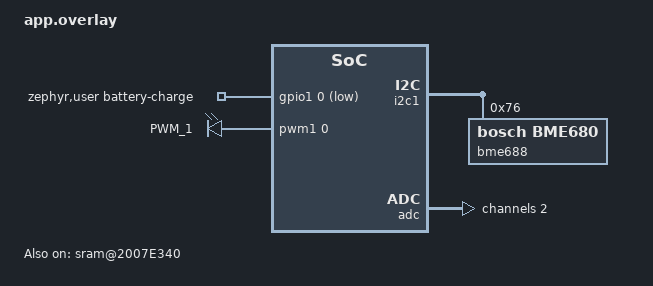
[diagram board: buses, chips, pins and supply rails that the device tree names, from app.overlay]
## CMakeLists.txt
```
#
# Copyright (c) 2021 Nordic Semiconductor ASA
#
# SPDX-License-Identifier: LicenseRef-Nordic-5-Clause
#

cmake_minimum_required(VERSION 3.20.0)

find_package(Zephyr REQUIRED HINTS $ENV{ZEPHYR_BASE})

project(matter-weather-station)

# Enable GNU STD support.
include(${ZEPHYR_CONNECTEDHOMEIP_MODULE_DIR}/config/nrfconnect/app/enable-gnu-std.cmake)

# NORDIC SDK APP START

# Include all source files that are located in the Matter common directory.
include(${ZEPHYR_NRF_MODULE_DIR}/samples/matter/common/cmake/source_common.cmake)

# Include Data Model utils
include(${ZEPHYR_NRF_MODULE_DIR}/samples/matter/common/cmake/data_model.cmake)

include(${ZEPHYR_NRF_MODULE_DIR}/samples/matter/common/cmake/zap_helpers.cmake)
ncs_get_zap_parent_dir(ZAP_PARENT_DIR)

target_include_directories(app PRIVATE
    src
    ${ZAP_PARENT_DIR}
)

target_sources(app PRIVATE
    src/app_task.cpp
    src/main.cpp
    src/battery.cpp
    src/buzzer.cpp
)

ncs_configure_data_model()
# NORDIC SDK APP END
```

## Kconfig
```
#
# Copyright (c) 2021 Nordic Semiconductor
#
# SPDX-License-Identifier: LicenseRef-Nordic-5-Clause
#

mainmenu "Matter weather station application"

config AVERAGE_CURRENT_CONSUMPTION
	int "Average device current consumption in microamperes"
	default 0
	help
	  The predicted average current consumption of the Matter weather station
	  device, used to estimate the remaining battery time.

# Application configuration used for Thread networking
if OPENTHREAD

choice OPENTHREAD_NORDIC_LIBRARY_CONFIGURATION
	default OPENTHREAD_NORDIC_LIBRARY_MTD
endchoice

choice OPENTHREAD_DEVICE_TYPE
	default OPENTHREAD_MTD
endchoice

config IEEE802154_NRF5_RX_STACK_SIZE
	default 8192

config CHIP_ENABLE_ICD_SUPPORT
	default y

endif # OPENTHREAD

if CHIP_WIFI

config NRF_WIFI_LOW_POWER
	default y

endif # CHIP_WIFI

source "${ZEPHYR_CONNECTEDHOMEIP_MODULE_DIR}/config/nrfconnect/chip-module/Kconfig.features"
source "${ZEPHYR_CONNECTEDHOMEIP_MODULE_DIR}/config/nrfconnect/chip-module/Kconfig.defaults"
source "${ZEPHYR_NRF_MODULE_DIR}/samples/matter/common/src/Kconfig"
source "Kconfig.zephyr"
```

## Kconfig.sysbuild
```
#
# Copyright (c) 2023 Nordic Semiconductor ASA
#
# SPDX-License-Identifier: LicenseRef-Nordic-5-Clause
#

#### Radio core
config NRF_DEFAULT_IPC_RADIO
	default y

# Enable IEEE802.15.4 serialization to network core
# This config automatically pulls in the `overlay-802154.conf` in the ipc_radio image
config NETCORE_IPC_RADIO_IEEE802154
	default y if !WIFI_NRF70

# Enable Bluetooth serialization to network core
# This config automatically pulls in the `overlay-bt_hci_ipc.conf` in the ipc_radio image
config NETCORE_IPC_RADIO_BT_HCI_IPC
	default y

choice BOOTLOADER
	default BOOTLOADER_MCUBOOT
endchoice

#### Bootloader
choice MCUBOOT_MODE
	default MCUBOOT_MODE_OVERWRITE_ONLY
endchoice

choice BOOT_SIGNATURE_TYPE
	default BOOT_SIGNATURE_TYPE_RSA
endchoice

config SECURE_BOOT_NETCORE
	default y

config NETCORE_APP_UPDATE
	default y

#### DFU multi-image support
config DFU_MULTI_IMAGE_PACKAGE_BUILD
	default y

config DFU_MULTI_IMAGE_PACKAGE_APP
	default y

config DFU_MULTI_IMAGE_PACKAGE_NET
	default y

config PM_EXTERNAL_FLASH_MCUBOOT_SECONDARY
	default y

source "share/sysbuild/Kconfig"
```

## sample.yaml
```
sample:
  name: Matter Weather Station
  description: Matter Weather Station application
tests:
  # This configuration is used for performing DFU over BLE between different NCS
  # applications on Thingy53.
  applications.matter_weather_station.debug.no_fd:
    sysbuild: true
    build_only: true
    platform_allow: thingy53/nrf5340/cpuapp
    platform_exclude: thingy53/nrf5340/cpuapp/ns
    integration_platforms:
      - thingy53/nrf5340/cpuapp
    tags:
      - sysbuild
      - ci_applications_matter
  applications.matter_weather_station.debug:
    sysbuild: true
    build_only: true
    extra_args:
      - OVERLAY_CONFIG=overlay-factory_data.conf
      - FILE_SUFFIX=factory_data
      - CONFIG_CHIP_FACTORY_DATA=y
      - SB_CONFIG_MATTER_FACTORY_DATA_GENERATE=y
    platform_allow: thingy53/nrf5340/cpuapp
    platform_exclude: thingy53/nrf5340/cpuapp/ns
    integration_platforms:
      - thingy53/nrf5340/cpuapp
    tags:
      - sysbuild
      - ci_applications_matter
  applications.matter_weather_station.release:
    sysbuild: true
    build_only: true
    extra_args:
      - OVERLAY_CONFIG=overlay-factory_data.conf
      - CONF_FILE=prj_release.conf
      - FILE_SUFFIX=factory_data
      - CONFIG_CHIP_FACTORY_DATA=y
      - SB_CONFIG_MATTER_FACTORY_DATA_GENERATE=y
    platform_allow: thingy53/nrf5340/cpuapp
    platform_exclude: thingy53/nrf5340/cpuapp/ns
    integration_platforms:
      - thingy53/nrf5340/cpuapp
    tags:
      - sysbuild
      - ci_applications_matter
  applications.matter_weather_station.nrf7002eb:
    sysbuild: true
    build_only: true
    extra_args:
      - matter_weather_station_SHIELD=nrf7002eb
      - FILE_SUFFIX=release
      - SB_CONFIG_WIFI_NRF70=y
      - CONFIG_CHIP_WIFI=y
    platform_allow: thingy53/nrf5340/cpuapp
    platform_exclude: thingy53/nrf5340/cpuapp/ns
    integration_platforms:
      - thingy53/nrf5340/cpuapp
    tags:
      - sysbuild
      - ci_applications_matter
```

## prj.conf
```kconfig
#
# Copyright (c) 2021 Nordic Semiconductor ASA
#
# SPDX-License-Identifier: LicenseRef-Nordic-5-Clause
#

# This sample uses Kconfig.defaults to set options common for all
# samples. This file should contain only options specific for this sample
# or overrides of default values.

# Enable CHIP
CONFIG_CHIP=y
CONFIG_CHIP_PROJECT_CONFIG="src/chip_project_config.h"

# Configure ZAP file name
CONFIG_NCS_SAMPLE_MATTER_ZAP_FILE_PATH="${APPLICATION_CONFIG_DIR}/src/default_zap/weather-station.zap"

# 32781 == 0x800D (matter example of Temperature measurement device as NCS Weather Station)
CONFIG_CHIP_DEVICE_PRODUCT_ID=32781
CONFIG_STD_CPP17=y

# Enable Matter pairing automatically on application start.
CONFIG_CHIP_ENABLE_PAIRING_AUTOSTART=y

# Enable Matter extended announcement and increase duration to 1 hour.
CONFIG_CHIP_BLE_EXT_ADVERTISING=y
CONFIG_CHIP_BLE_ADVERTISING_DURATION=60

# Enable Bluetooth Low Energy
CONFIG_BT_DEVICE_NAME="MatterWeather"

# Add support for LEDs, buttons and buzzer
CONFIG_DK_LIBRARY=y
CONFIG_PWM=y

# Configure Thingy:53 sensors
CONFIG_I2C=y
CONFIG_SENSOR=y
CONFIG_BME680=y
CONFIG_ADC=y

# Suspend devices when the CPU goes into sleep
CONFIG_PM_DEVICE=y

# Other settings
CONFIG_IEEE802154_NRF5_RX_STACK_SIZE=8192
CONFIG_THREAD_NAME=y
CONFIG_MPU_STACK_GUARD=y
CONFIG_CHIP_LIB_SHELL=y
CONFIG_NCS_SAMPLE_MATTER_TEST_SHELL=y

# Average Thingy:53 current consumption
CONFIG_AVERAGE_CURRENT_CONSUMPTION=10000

# Enable DFU over Bluetooth LE SMP
CONFIG_CHIP_DFU_OVER_BT_SMP=y

# Increase system workqueue size, as SMP is processed within it
CONFIG_SYSTEM_WORKQUEUE_STACK_SIZE=4096

# 0x0302 (Temp. sensor)
CONFIG_CHIP_DEVICE_TYPE=770
CONFIG_BT_RX_STACK_SIZE=1500

# Configure UART logging and shell
CONFIG_LOG=y
CONFIG_LOG_MODE_DEFERRED=y
CONFIG_LOG_PROCESS_THREAD_STACK_SIZE=1024
CONFIG_LOG_BUFFER_SIZE=8192
CONFIG_LOG_FUNC_NAME_PREFIX_DBG=n
CONFIG_MATTER_LOG_LEVEL_DBG=y
CONFIG_SHELL=y
CONFIG_SHELL_LOG_BACKEND=y

# Configure USB CDC ACM
CONFIG_USB_DEVICE_INITIALIZE_AT_BOOT=n
CONFIG_USB_DEVICE_PRODUCT="Thingy:53 Matter Weather"
CONFIG_USB_DEVICE_PID=0x530D
CONFIG_UART_LINE_CTRL=y
CONFIG_SHELL_BACKEND_SERIAL_INIT_PRIORITY=51

# Enable Diagnostic Logs feature
CONFIG_NCS_SAMPLE_MATTER_DIAGNOSTIC_LOGS=y
CONFIG_NCS_SAMPLE_MATTER_DIAGNOSTIC_LOGS_CRASH_LOGS=y
CONFIG_NCS_SAMPLE_MATTER_DIAGNOSTIC_LOGS_REMOVE_CRASH_AFTER_READ=y
CONFIG_NCS_SAMPLE_MATTER_DIAGNOSTIC_LOGS_END_USER_LOGS=y
CONFIG_NCS_SAMPLE_MATTER_DIAGNOSTIC_LOGS_NETWORK_LOGS=y

# Enable test event triggers for diagnostic logs testing purposes.
CONFIG_NCS_SAMPLE_MATTER_DIAGNOSTIC_LOGS_TEST=y

# Set the NVS sector count to match the settings partition size that is 64 kB for this application.
CONFIG_SETTINGS_NVS_SECTOR_COUNT=16
```

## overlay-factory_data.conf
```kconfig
#
# Copyright (c) 2022 Nordic Semiconductor ASA
#
# SPDX-License-Identifier: LicenseRef-Nordic-5-Clause
#

# Use this overlay to re-generate new PAI and DAC certificates.
# Be sure that chip-cert executable is added to your system PATH.

# Enable building the new factory data
CONFIG_CHIP_FACTORY_DATA=y
CONFIG_CHIP_FACTORY_DATA_BUILD=y
CONFIG_CHIP_FACTORY_DATA_USE_DEFAULT_CERTS=y
CONFIG_CHIP_FACTORY_DATA_MERGE_WITH_FIRMWARE=y
CONFIG_CHIP_DEVICE_GENERATE_ROTATING_DEVICE_UID=n
CONFIG_CHIP_FACTORY_DATA_GENERATE_ONBOARDING_CODES=y

# Set up the Factory Data
CONFIG_CHIP_DEVICE_SERIAL_NUMBER="3"
CONFIG_CHIP_DEVICE_VENDOR_ID=65521
CONFIG_CHIP_DEVICE_VENDOR_NAME="Nordic Semiconductor ASA"
CONFIG_CHIP_DEVICE_PRODUCT_ID=32781
CONFIG_CHIP_DEVICE_PRODUCT_NAME="Weather Station"
CONFIG_CHIP_DEVICE_MANUFACTURING_DATE="2022-07-12"
CONFIG_CHIP_DEVICE_HARDWARE_VERSION=1
CONFIG_CHIP_DEVICE_HARDWARE_VERSION_STRING="SVE"
CONFIG_CHIP_DEVICE_DISCRIMINATOR=0x635
CONFIG_CHIP_DEVICE_SPAKE2_PASSCODE=65286841
CONFIG_CHIP_DEVICE_SPAKE2_IT=1000
CONFIG_CHIP_DEVICE_SPAKE2_TEST_VERIFIER="3kX890KClffU+BvLXQm68RDvXWlyuPofi8DEFkv74mQEnC+g02oLJTkItSDLBUvuYX87D1C7SnHZ7PuWvDziO57cHjPgUlkEhlRj+bvWKmE/FEwKuffl+VB7Dlx9HurJwQ=="
CONFIG_CHIP_DEVICE_ROTATING_DEVICE_UID="1566d6032a898e53f7d58133a19ac9d2"
CONFIG_CHIP_DEVICE_ENABLE_KEY="449eb9544ee3eef8d9fb7accb514fada"
```

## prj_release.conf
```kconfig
#
# Copyright (c) 2021 Nordic Semiconductor ASA
#
# SPDX-License-Identifier: LicenseRef-Nordic-5-Clause
#

# This sample uses Kconfig.defaults to set options common for all
# samples. This file should contain only options specific for this sample
# or overrides of default values.

# Enable CHIP
CONFIG_CHIP=y
CONFIG_CHIP_PROJECT_CONFIG="src/chip_project_config.h"

# Configure ZAP file name
CONFIG_NCS_SAMPLE_MATTER_ZAP_FILE_PATH="${APPLICATION_CONFIG_DIR}/src/default_zap/weather-station.zap"

# 32781 == 0x800D (matter example of Temperature measurement device as NCS Weather Station)
CONFIG_CHIP_DEVICE_PRODUCT_ID=32781
CONFIG_STD_CPP17=y

# Enable Matter pairing automatically on application start.
CONFIG_CHIP_ENABLE_PAIRING_AUTOSTART=y

# Enable Matter extended announcement and increase duration to 1 hour.
CONFIG_CHIP_BLE_EXT_ADVERTISING=y
CONFIG_CHIP_BLE_ADVERTISING_DURATION=60

# Enable Bluetooth Low Energy
CONFIG_BT_DEVICE_NAME="MatterWeather"

# Add support for LEDs, buttons and buzzer
CONFIG_DK_LIBRARY=y
CONFIG_PWM=y

# Configure Thingy:53 sensors
CONFIG_I2C=y
CONFIG_SENSOR=y
CONFIG_BME680=y
CONFIG_ADC=y

# Suspend devices when the CPU goes into sleep
CONFIG_PM_DEVICE=y

# Average Thingy:53 current consumption
CONFIG_AVERAGE_CURRENT_CONSUMPTION=10000

# Enable DFU over Bluetooth LE SMP
CONFIG_CHIP_DFU_OVER_BT_SMP=y

# Increase system workqueue size, as SMP is processed within it
CONFIG_SYSTEM_WORKQUEUE_STACK_SIZE=4096

# 0x0302 (Temp. sensor)
CONFIG_CHIP_DEVICE_TYPE=770
CONFIG_BT_RX_STACK_SIZE=1500

# Disable all debug features
CONFIG_SHELL=n
CONFIG_OPENTHREAD_SHELL=n
CONFIG_CONSOLE=n
CONFIG_UART_CONSOLE=n
CONFIG_SERIAL=n
CONFIG_LOG=n
CONFIG_LOG_MODE_MINIMAL=n
CONFIG_THREAD_NAME=n
CONFIG_ASSERT_VERBOSE=n
CONFIG_ASSERT_NO_FILE_INFO=y

# Disable USB CDC ACM
CONFIG_BOARD_SERIAL_BACKEND_CDC_ACM=n

# Enable Watchdog
CONFIG_NCS_SAMPLE_MATTER_WATCHDOG=y

# Enable LTO
CONFIG_LTO=y
CONFIG_ISR_TABLES_LOCAL_DECLARATION=y

# Enable Diagnostic Logs feature
CONFIG_NCS_SAMPLE_MATTER_DIAGNOSTIC_LOGS=y
CONFIG_NCS_SAMPLE_MATTER_DIAGNOSTIC_LOGS_CRASH_LOGS=y
CONFIG_NCS_SAMPLE_MATTER_DIAGNOSTIC_LOGS_REMOVE_CRASH_AFTER_READ=y
CONFIG_NCS_SAMPLE_MATTER_DIAGNOSTIC_LOGS_END_USER_LOGS=y
CONFIG_NCS_SAMPLE_MATTER_DIAGNOSTIC_LOGS_NETWORK_LOGS=y

# Enable test event triggers for diagnostic logs testing purposes.
CONFIG_NCS_SAMPLE_MATTER_DIAGNOSTIC_LOGS_TEST=y

# Set the NVS sector count to match the settings partition size that is 64 kB for this application.
CONFIG_SETTINGS_NVS_SECTOR_COUNT=16
```

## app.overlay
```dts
/*
 * Copyright (c) 2021 Nordic Semiconductor ASA
 *
 * SPDX-License-Identifier: LicenseRef-Nordic-5-Clause
 */

#include <zephyr/dt-bindings/ipc_service/static_vrings.h>

/ {
	zephyr,user {
		battery-charge-gpios = <&gpio1 0 (GPIO_PULL_UP | GPIO_ACTIVE_LOW)>;
	};

	pwmbuzzer {
		compatible = "pwm-leds";
		status = "okay";

		buzzer: buzzer_pwm {
			pwms = <&pwm1 0 PWM_HZ(100) PWM_POLARITY_NORMAL>;
			label = "PWM_1";
		};
	};

	aliases {
		buzzer-pwm = &buzzer;
	};

	sram@2007E340 {
		compatible = "zephyr,memory-region", "mmio-sram";
		reg = <0x2007E340 0x1CC0>;
		zephyr,memory-region = "DiagnosticLogMem";
		status = "okay";
		retainedmem {
			compatible = "zephyr,retained-ram";
			status = "okay";
			#address-cells = <1>;
			#size-cells = <1>;
			/* Reserve 192 B for the crash logs. */
			crash_retention: retention@0 {
					compatible = "zephyr,retention";
					status = "okay";
					reg = <0x0 0xC0>;
					prefix = [08 04];
					checksum = <2>;
			};

			/* Reserve 6 kB for the network logs. */
			network_logs_retention: retention@c0 {
					compatible = "zephyr,retention";
					status = "okay";
					reg = <0xC0 0x1800>;
					prefix = [06 03];
					checksum = <2>;
			};

			/* Reserve 1 kB for the end user logs. */
			end_user_logs_retention: retention@18c0 {
					compatible = "zephyr,retention";
					status = "okay";
					reg = <0x18C0 0x400>;
					prefix = [05 02];
					checksum = <2>;
			};
		};
	};
};

/* Set IPC thread priority to the highest value to not collide with other threads. */
&ipc0 {
	zephyr,priority = <0 PRIO_COOP>;
};

&i2c1 {
	bme688@76 {
		compatible = "bosch,bme680";
		reg = <0x76>;
	};
};

&adc {
	#address-cells = <1>;
	#size-cells = <0>;

	channel@2 {
		reg = <2>;
		zephyr,gain = "ADC_GAIN_1";
		zephyr,reference = "ADC_REF_INTERNAL";
		zephyr,acquisition-time = <ADC_ACQ_TIME(ADC_ACQ_TIME_MICROSECONDS, 40)>;
		zephyr,input-positive = <NRF_SAADC_AIN2>;
		zephyr,resolution = <12>;
		zephyr,oversampling = <4>;
	};
};

/* Disable unused peripherals to reduce power consumption */
&pwm0 {
	status = "disabled";
};
&pwm2 {
	status = "disabled";
};

/* Reduce SRAM0 usage by 7360 B to account for non-init area */
&sram0 {
	reg = <0x20000000 0x7E340>;
};
```

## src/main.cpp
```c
/*
 * Copyright (c) 2021 Nordic Semiconductor ASA
 *
 * SPDX-License-Identifier: LicenseRef-Nordic-5-Clause
 */

#include "app_task.h"

#include <zephyr/logging/log.h>

#ifdef CONFIG_USB_DEVICE_STACK
#include <zephyr/usb/usb_device.h>
#endif

LOG_MODULE_REGISTER(app, CONFIG_CHIP_APP_LOG_LEVEL);

int main()
{
	CHIP_ERROR err = CHIP_NO_ERROR;

#ifdef CONFIG_USB_DEVICE_STACK
	err = chip::System::MapErrorZephyr(usb_enable(NULL));
	if (err != CHIP_NO_ERROR) {
		LOG_ERR("Failed to initialize USB device");
	}
#endif

	if (err == CHIP_NO_ERROR) {
		err = AppTask::Instance().StartApp();
	}

	LOG_ERR("Exited with code %" CHIP_ERROR_FORMAT, err.Format());
	return err == CHIP_NO_ERROR ? EXIT_SUCCESS : EXIT_FAILURE;
}
```

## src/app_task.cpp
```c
/*
 * Copyright (c) 2021 Nordic Semiconductor ASA
 *
 * SPDX-License-Identifier: LicenseRef-Nordic-5-Clause
 */

#include "app_task.h"

#include "battery.h"
#include "buzzer.h"

#include "app/matter_init.h"
#include "app/task_executor.h"
#include "board/board.h"
#include "board/led_widget.h"

#ifdef CONFIG_MCUMGR_TRANSPORT_BT
#include "dfu/smp/dfu_over_smp.h"
#endif

#include <app-common/zap-generated/attributes/Accessors.h>
#include <app-common/zap-generated/cluster-objects.h>
#include <app/server/Server.h>
#include <setup_payload/OnboardingCodesUtil.h>

#include <zephyr/drivers/sensor.h>
#include <zephyr/logging/log.h>

LOG_MODULE_DECLARE(app, CONFIG_CHIP_APP_LOG_LEVEL);

using namespace ::chip;
using namespace ::chip::DeviceLayer;
using namespace ::chip::app;

namespace
{
enum class FunctionTimerMode { kDisabled, kFactoryResetTrigger, kFactoryResetComplete };
enum class LedState { kAlive, kAdvertisingBle, kConnectedBle, kProvisioned };

#if CONFIG_AVERAGE_CURRENT_CONSUMPTION <= 0
#error Invalid CONFIG_AVERAGE_CURRENT_CONSUMPTION value set
#endif

constexpr size_t kMeasurementsIntervalMs = 3000;
constexpr uint8_t kTemperatureMeasurementEndpointId = 1;
constexpr int16_t kTemperatureMeasurementAttributeMaxValue = 0x7fff;
constexpr int16_t kTemperatureMeasurementAttributeMinValue = 0x954d;
constexpr int16_t kTemperatureMeasurementAttributeInvalidValue = 0x8000;
constexpr uint8_t kHumidityMeasurementEndpointId = 2;
constexpr uint16_t kHumidityMeasurementAttributeMaxValue = 0x2710;
constexpr uint16_t kHumidityMeasurementAttributeMinValue = 0;
constexpr uint16_t kHumidityMeasurementAttributeInvalidValue = 0xffff;
constexpr uint8_t kPressureMeasurementEndpointId = 3;
constexpr int16_t kPressureMeasurementAttributeMaxValue = 0x7fff;
constexpr int16_t kPressureMeasurementAttributeMinValue = 0x8001;
constexpr int16_t kPressureMeasurementAttributeInvalidValue = 0x8000;
constexpr uint8_t kPowerSourceEndpointId = 0;
constexpr int16_t kMinimalOperatingVoltageMv = 3200;
constexpr int16_t kMaximalOperatingVoltageMv = 4050;
constexpr int16_t kWarningThresholdVoltageMv = 3450;
constexpr int16_t kCriticalThresholdVoltageMv = 3250;
constexpr uint8_t kMinBatteryPercentage = 0;
/* Value is expressed in half percent units ranging from 0 to 200. */
constexpr uint8_t kMaxBatteryPercentage = 200;
/* Battery capacity in uAh */
constexpr uint32_t kBatteryCapacityUaH = 1350000;
/* Average device current consumption in uA */
constexpr uint32_t kDeviceAverageCurrentConsumptionUa = CONFIG_AVERAGE_CURRENT_CONSUMPTION;
/* Fully charged battery operation time in seconds */
constexpr uint32_t kFullBatteryOperationTime = kBatteryCapacityUaH / kDeviceAverageCurrentConsumptionUa * 3600;
/* It is recommended to toggle the signalled state with 0.5 s interval. */
constexpr size_t kIdentifyTimerIntervalMs = 500;

k_timer sMeasurementsTimer;
k_timer sIdentifyTimer;

const device *sBme688SensorDev = DEVICE_DT_GET_ONE(bosch_bme680);

/* Add identify for all endpoints */
Identify sIdentifyTemperature = { chip::EndpointId{ kTemperatureMeasurementEndpointId }, AppTask::OnIdentifyStart,
				  AppTask::OnIdentifyStop, Clusters::Identify::IdentifyTypeEnum::kAudibleBeep };
Identify sIdentifyHumidity = { chip::EndpointId{ kHumidityMeasurementEndpointId }, AppTask::OnIdentifyStart,
			       AppTask::OnIdentifyStop, Clusters::Identify::IdentifyTypeEnum::kAudibleBeep };
Identify sIdentifyPressure = { chip::EndpointId{ kPressureMeasurementEndpointId }, AppTask::OnIdentifyStart,
			       AppTask::OnIdentifyStop, Clusters::Identify::IdentifyTypeEnum::kAudibleBeep };

} /* namespace */

void AppTask::MeasurementsTimerHandler()
{
	Instance().UpdateClustersState();
}

void AppTask::OnIdentifyStart(Identify *)
{
	Nrf::PostTask(
		[] { Nrf::GetBoard().GetLED(Nrf::DeviceLeds::LED2).Blink(Nrf::LedConsts::kIdentifyBlinkRate_ms); });
	k_timer_start(&sIdentifyTimer, K_MSEC(kIdentifyTimerIntervalMs), K_MSEC(kIdentifyTimerIntervalMs));
}

void AppTask::OnIdentifyStop(Identify *)
{
	k_timer_stop(&sIdentifyTimer);
	BuzzerSetState(false);
}

void AppTask::IdentifyTimerHandler()
{
	BuzzerToggleState();
}

void AppTask::UpdateTemperatureClusterState()
{
	struct sensor_value sTemperature;
	Protocols::InteractionModel::Status status;
	int result = sensor_channel_get(sBme688SensorDev, SENSOR_CHAN_AMBIENT_TEMP, &sTemperature);
	if (result == 0) {
		/* Defined by cluster temperature measured value = 100 x temperature in degC with resolution of
		 * 0.01 degC. val1 is an integer part of the value and val2 is fractional part in one-millionth
		 * parts. To achieve resolution of 0.01 degC val2 needs to be divided by 10000. */
		int16_t newValue = static_cast<int16_t>(sTemperature.val1 * 100 + sTemperature.val2 / 10000);

		if (newValue > kTemperatureMeasurementAttributeMaxValue ||
		    newValue < kTemperatureMeasurementAttributeMinValue) {
			/* Read value exceeds permitted limits, so assign invalid value code to it. */
			newValue = kTemperatureMeasurementAttributeInvalidValue;
		}
		LOG_DBG("New temperature measurement %d.%d *C", sTemperature.val1, sTemperature.val2);

		status = Clusters::TemperatureMeasurement::Attributes::MeasuredValue::Set(
			kTemperatureMeasurementEndpointId, newValue);
		if (status != Protocols::InteractionModel::Status::Success) {
			LOG_ERR("Updating temperature measurement %x", to_underlying(status));
		}
	} else {
		LOG_ERR("Getting temperature measurement data from BME688 failed with: %d", result);
	}
}

void AppTask::UpdatePressureClusterState()
{
	struct sensor_value sPressure;
	Protocols::InteractionModel::Status status;
	int result = sensor_channel_get(sBme688SensorDev, SENSOR_CHAN_PRESS, &sPressure);
	if (result == 0) {
		/* Defined by cluster pressure measured value = 10 x pressure in kPa with resolution of 0.1 kPa.
		 * val1 is an integer part of the value and val2 is fractional part in one-millionth parts.
		 * To achieve resolution of 0.1 kPa val2 needs to be divided by 100000. */
		int16_t newValue = static_cast<int16_t>(sPressure.val1 * 10 + sPressure.val2 / 100000);

		if (newValue > kPressureMeasurementAttributeMaxValue ||
		    newValue < kPressureMeasurementAttributeMinValue) {
			/* Read value exceeds permitted limits, so assign invalid value code to it. */
			newValue = kPressureMeasurementAttributeInvalidValue;
		}
		LOG_DBG("New pressure measurement %d.%d kPa", sPressure.val1, sPressure.val2);

		status = Clusters::PressureMeasurement::Attributes::MeasuredValue::Set(kPressureMeasurementEndpointId,
										       newValue);
		if (status != Protocols::InteractionModel::Status::Success) {
			LOG_ERR("Updating pressure measurement %x", to_underlying(status));
		}
	} else {
		LOG_ERR("Getting pressure measurement data from BME688 failed with: %d", result);
	}
}

void AppTask::UpdateRelativeHumidityClusterState()
{
	struct sensor_value sHumidity;
	Protocols::InteractionModel::Status status;
	int result = sensor_channel_get(sBme688SensorDev, SENSOR_CHAN_HUMIDITY, &sHumidity);
	if (result == 0) {
		/* Defined by cluster humidity measured value = 100 x humidity in %RH with resolution of 0.01 %.
		 * val1 is an integer part of the value and val2 is fractional part in one-millionth parts.
		 * To achieve resolution of 0.01 % val2 needs to be divided by 10000. */
		uint16_t newValue = static_cast<int16_t>(sHumidity.val1 * 100 + sHumidity.val2 / 10000);

		if (newValue > kHumidityMeasurementAttributeMaxValue ||
		    newValue < kHumidityMeasurementAttributeMinValue) {
			/* Read value exceeds permitted limits, so assign invalid value code to it. */
			newValue = kHumidityMeasurementAttributeInvalidValue;
		}
		LOG_DBG("New humidity measurement %d.%d %%", sHumidity.val1, sHumidity.val2);

		status = Clusters::RelativeHumidityMeasurement::Attributes::MeasuredValue::Set(
			kHumidityMeasurementEndpointId, newValue);
		if (status != Protocols::InteractionModel::Status::Success) {
			LOG_ERR("Updating relative humidity measurement %x", to_underlying(status));
		}
	} else {
		LOG_ERR("Getting humidity measurement data from BME688 failed with: %d", result);
	}
}

void AppTask::UpdatePowerSourceClusterState()
{
	Protocols::InteractionModel::Status status;
	int32_t voltage = BatteryMeasurementReadVoltageMv();
	/* Value is expressed in half percent units ranging from 0 to 200. */
	uint8_t batteryPercentage;
	uint32_t batteryTimeRemaining;
	Clusters::PowerSource::PowerSourceStatusEnum batteryStatus;
	Clusters::PowerSource::BatChargeLevelEnum batteryChargeLevel;
	bool batteryPresent;
	Clusters::PowerSource::BatChargeStateEnum batteryCharged;

	if (voltage < 0) {
		voltage = 0;
		batteryPercentage = 0;
		batteryStatus = Clusters::PowerSource::PowerSourceStatusEnum::kUnavailable;
		batteryPresent = false;

		LOG_ERR("Battery level measurement failed %d", voltage);
	} else {
		batteryStatus = Clusters::PowerSource::PowerSourceStatusEnum::kActive;
		batteryPresent = true;
	}

	if (voltage <= kMinimalOperatingVoltageMv) {
		batteryPercentage = kMinBatteryPercentage;
	} else if (voltage >= kMaximalOperatingVoltageMv) {
		batteryPercentage = kMaxBatteryPercentage;
	} else {
		batteryPercentage = kMaxBatteryPercentage * (voltage - kMinimalOperatingVoltageMv) /
				    (kMaximalOperatingVoltageMv - kMinimalOperatingVoltageMv);
	}

	batteryTimeRemaining = kFullBatteryOperationTime * batteryPercentage / kMaxBatteryPercentage;

	if (voltage < kCriticalThresholdVoltageMv) {
		batteryChargeLevel = Clusters::PowerSource::BatChargeLevelEnum::kCritical;
	} else if (voltage < kWarningThresholdVoltageMv) {
		batteryChargeLevel = Clusters::PowerSource::BatChargeLevelEnum::kWarning;
	} else {
		batteryChargeLevel = Clusters::PowerSource::BatChargeLevelEnum::kOk;
	}

	if (BatteryCharged()) {
		batteryCharged = Clusters::PowerSource::BatChargeStateEnum::kIsCharging;
	} else {
		batteryCharged = Clusters::PowerSource::BatChargeStateEnum::kIsNotCharging;
	}

	status = Clusters::PowerSource::Attributes::BatVoltage::Set(kPowerSourceEndpointId, voltage);
	if (status != Protocols::InteractionModel::Status::Success) {
		LOG_ERR("Updating battery voltage failed %x", to_underlying(status));
	}

	status = Clusters::PowerSource::Attributes::BatPercentRemaining::Set(kPowerSourceEndpointId, batteryPercentage);
	if (status != Protocols::InteractionModel::Status::Success) {
		LOG_ERR("Updating battery percentage failed %x", to_underlying(status));
	}

	status = Clusters::PowerSource::Attributes::BatTimeRemaining::Set(kPowerSourceEndpointId, batteryTimeRemaining);
	if (status != Protocols::InteractionModel::Status::Success) {
		LOG_ERR("Updating battery time remaining failed %x", to_underlying(status));
	}

	status = Clusters::PowerSource::Attributes::BatChargeLevel::Set(kPowerSourceEndpointId, batteryChargeLevel);
	if (status != Protocols::InteractionModel::Status::Success) {
		LOG_ERR("Updating battery charge level failed %x", to_underlying(status));
	}

	status = Clusters::PowerSource::Attributes::Status::Set(kPowerSourceEndpointId, batteryStatus);
	if (status != Protocols::InteractionModel::Status::Success) {
		LOG_ERR("Updating battery status failed %x", to_underlying(status));
	}

	status = Clusters::PowerSource::Attributes::BatPresent::Set(kPowerSourceEndpointId, batteryPresent);
	if (status != Protocols::InteractionModel::Status::Success) {
		LOG_ERR("Updating battery present failed %x", to_underlying(status));
	}

	status = Clusters::PowerSource::Attributes::BatChargeState::Set(kPowerSourceEndpointId, batteryCharged);
	if (status != Protocols::InteractionModel::Status::Success) {
		LOG_ERR("Updating battery charge failed %x", to_underlying(status));
	}
}

void AppTask::UpdateClustersState()
{
	const int result = sensor_sample_fetch(sBme688SensorDev);

	if (result == 0) {
		UpdateTemperatureClusterState();
		UpdatePressureClusterState();
		UpdateRelativeHumidityClusterState();
	} else {
		LOG_ERR("Fetching data from BME688 sensor failed with: %d", result);
	}

	UpdatePowerSourceClusterState();
}

void AppTask::UpdateLedState()
{
	if (!Instance().mGreenLED || !Instance().mBlueLED || !Instance().mRedLED) {
		return;
	}

	Instance().mGreenLED->Set(false);
	Instance().mBlueLED->Set(false);
	Instance().mRedLED->Set(false);

	switch (Nrf::GetBoard().GetDeviceState()) {
	case Nrf::DeviceState::DeviceAdvertisingBLE:
		Instance().mBlueLED->Blink(Nrf::LedConsts::StatusLed::Disconnected::kOn_ms,
					   Nrf::LedConsts::StatusLed::Disconnected::kOff_ms);
		break;
	case Nrf::DeviceState::DeviceDisconnected:
		Instance().mGreenLED->Blink(Nrf::LedConsts::StatusLed::Disconnected::kOn_ms,
					    Nrf::LedConsts::StatusLed::Disconnected::kOff_ms);
		break;
	case Nrf::DeviceState::DeviceConnectedBLE:
		Instance().mBlueLED->Blink(Nrf::LedConsts::StatusLed::BleConnected::kOn_ms,
					   Nrf::LedConsts::StatusLed::BleConnected::kOff_ms);
		break;
	case Nrf::DeviceState::DeviceProvisioned:
		Instance().mRedLED->Blink(Nrf::LedConsts::StatusLed::Disconnected::kOn_ms,
					  Nrf::LedConsts::StatusLed::Disconnected::kOff_ms);
		Instance().mBlueLED->Blink(Nrf::LedConsts::StatusLed::Disconnected::kOn_ms,
					   Nrf::LedConsts::StatusLed::Disconnected::kOff_ms);
		break;
	default:
		break;
	}
}

CHIP_ERROR AppTask::Init()
{
	/* Initialize Matter stack */
#ifdef CONFIG_MCUMGR_TRANSPORT_BT
	ReturnErrorOnFailure(
		Nrf::Matter::PrepareServer(Nrf::Matter::InitData{ .mPostServerInitClbk = []() -> CHIP_ERROR {
			Nrf::GetDFUOverSMP().StartServer();
			return CHIP_NO_ERROR;
		} }));
#else
	ReturnErrorOnFailure(Nrf::Matter::PrepareServer());
#endif

	/* Set references for RGB LED */
	mRedLED = &Nrf::GetBoard().GetLED(Nrf::DeviceLeds::LED1);
	mGreenLED = &Nrf::GetBoard().GetLED(Nrf::DeviceLeds::LED2);
	mBlueLED = &Nrf::GetBoard().GetLED(Nrf::DeviceLeds::LED3);

	if (!Nrf::GetBoard().Init(nullptr, UpdateLedState)) {
		LOG_ERR("User interface initialization failed.");
		return CHIP_ERROR_INCORRECT_STATE;
	}

	/* Register Matter event handler that controls the connectivity status LED based on the captured Matter network
	 * state. */
	ReturnErrorOnFailure(Nrf::Matter::RegisterEventHandler(Nrf::Board::DefaultMatterEventHandler, 0));

	if (!device_is_ready(sBme688SensorDev)) {
		LOG_ERR("BME688 sensor device not ready");
		return chip::System::MapErrorZephyr(-ENODEV);
	}

	int ret = BatteryMeasurementInit();
	if (ret) {
		LOG_ERR("Battery measurement init failed");
		return chip::System::MapErrorZephyr(ret);
	}

	ret = BatteryMeasurementEnable();
	if (ret) {
		LOG_ERR("Enabling battery measurement failed");
		return chip::System::MapErrorZephyr(ret);
	}

	ret = BatteryChargeControlInit();
	if (ret) {
		LOG_ERR("Battery charge control init failed");
		return chip::System::MapErrorZephyr(ret);
	}

	ret = BuzzerInit();
	if (ret) {
		LOG_ERR("Buzzer init failed");
		return chip::System::MapErrorZephyr(ret);
	}

	/* Initialize timers */
	k_timer_init(
		&sMeasurementsTimer, [](k_timer *) { Nrf::PostTask([] { MeasurementsTimerHandler(); }); }, nullptr);
	k_timer_init(&sIdentifyTimer, [](k_timer *) { Nrf::PostTask([] { IdentifyTimerHandler(); }); }, nullptr);
	k_timer_start(&sMeasurementsTimer, K_MSEC(kMeasurementsIntervalMs), K_MSEC(kMeasurementsIntervalMs));

	return Nrf::Matter::StartServer();
}

CHIP_ERROR AppTask::StartApp()
{
	ReturnErrorOnFailure(Init());

	while (true) {
		Nrf::DispatchNextTask();
	}

	return CHIP_NO_ERROR;
}
```

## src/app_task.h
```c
/*
 * Copyright (c) 2021 Nordic Semiconductor ASA
 *
 * SPDX-License-Identifier: LicenseRef-Nordic-5-Clause
 */

#pragma once

#include "board/led_widget.h"

#include <app/clusters/identify-server/identify-server.h>
#include <platform/CHIPDeviceLayer.h>

class AppTask {
public:
	static AppTask &Instance()
	{
		static AppTask sAppTask;
		return sAppTask;
	};

	CHIP_ERROR StartApp();

	void UpdateClustersState();
	static void OnIdentifyStart(Identify *);
	static void OnIdentifyStop(Identify *);
	static void UpdateLedState();

private:
	CHIP_ERROR Init();

	void UpdateTemperatureClusterState();
	void UpdatePressureClusterState();
	void UpdateRelativeHumidityClusterState();
	void UpdatePowerSourceClusterState();

	static void MeasurementsTimerHandler();
	static void IdentifyTimerHandler();

	Nrf::LEDWidget *mRedLED;
	Nrf::LEDWidget *mGreenLED;
	Nrf::LEDWidget *mBlueLED;
};
```

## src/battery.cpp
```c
/*
 * Copyright (c) 2021 Nordic Semiconductor ASA
 *
 * SPDX-License-Identifier: LicenseRef-Nordic-5-Clause
 */
#include "battery.h"

#include <hal/nrf_saadc.h>

#include <zephyr/drivers/adc.h>
#include <zephyr/drivers/gpio.h>

#include <zephyr/logging/log.h>

LOG_MODULE_DECLARE(app);

#define VBATT DT_PATH(vbatt)
#define ZEPHYR_USER DT_PATH(zephyr_user)

namespace
{
const struct gpio_dt_spec sPowerGpio = GPIO_DT_SPEC_GET(VBATT, power_gpios);
const struct gpio_dt_spec sChargeGpio = GPIO_DT_SPEC_GET(ZEPHYR_USER, battery_charge_gpios);
const uint32_t sFullOhms = DT_PROP(VBATT, full_ohms);
const uint32_t sOutputOhms = DT_PROP(VBATT, output_ohms);
const struct adc_dt_spec sAdc = ADC_DT_SPEC_GET(VBATT);

bool sBatteryConfigured = false;
bool sBatteryChargeConfigured = false;
int16_t sAdcBuffer = 0;

struct adc_sequence sAdcSeq = {
	.buffer = &sAdcBuffer,
	.buffer_size = sizeof(sAdcBuffer),
	.calibrate = true,
};
} /* namespace */

int BatteryMeasurementInit()
{
	int err;

	if (!device_is_ready(sPowerGpio.port)) {
		LOG_ERR("Battery measurement GPIO device not ready");
		return -ENODEV;
	}

	err = gpio_pin_configure_dt(&sPowerGpio, GPIO_OUTPUT_INACTIVE);
	if (err != 0) {
		LOG_ERR("Failed to configure battery measurement GPIO %d", err);
		return err;
	}

	if (!device_is_ready(sAdc.dev)) {
		LOG_ERR("ADC controller not ready");
		return -ENODEV;
	}

	err = adc_channel_setup_dt(&sAdc);
	if (err) {
		LOG_ERR("Setting up the ADC channel failed");
		return err;
	}

	(void)adc_sequence_init_dt(&sAdc, &sAdcSeq);

	sBatteryConfigured = true;

	return err;
}

int BatteryMeasurementEnable()
{
	int err = -ECANCELED;
	if (sBatteryConfigured) {
		err = gpio_pin_set_dt(&sPowerGpio, 1);
		if (err != 0) {
			LOG_ERR("Failed to enable measurement pin %d", err);
		}
	}
	return err;
}

int32_t BatteryMeasurementReadVoltageMv()
{
	int32_t result = -ECANCELED;
	if (sBatteryConfigured) {
		result = adc_read(sAdc.dev, &sAdcSeq);
		if (result == 0) {
			int32_t val = sAdcBuffer;
			adc_raw_to_millivolts_dt(&sAdc, &val);
			result = static_cast<int32_t>(static_cast<int64_t>(val) * sFullOhms / sOutputOhms);
		}
	}
	return result;
}

int BatteryChargeControlInit()
{
	if (!device_is_ready(sChargeGpio.port)) {
		LOG_ERR("Charge GPIO controller not ready");
		return -ENODEV;
	}

	int err = gpio_pin_configure_dt(&sChargeGpio, GPIO_INPUT);
	if (err != 0) {
		LOG_ERR("Failed to configure battery charge GPIO %d", err);
		return err;
	}

	sBatteryChargeConfigured = true;

	return 0;
}

bool BatteryCharged()
{
	if (!sBatteryChargeConfigured) {
		return true;
	}

	return static_cast<bool>(gpio_pin_get_dt(&sChargeGpio));
}
```

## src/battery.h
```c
/*
 * Copyright (c) 2021 Nordic Semiconductor ASA
 *
 * SPDX-License-Identifier: LicenseRef-Nordic-5-Clause
 */

#include <cstdint>

int BatteryMeasurementInit();
int BatteryMeasurementEnable();
int32_t BatteryMeasurementReadVoltageMv();
int BatteryChargeControlInit();
bool BatteryCharged();
```

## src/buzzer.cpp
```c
/*
 * Copyright (c) 2021 Nordic Semiconductor ASA
 *
 * SPDX-License-Identifier: LicenseRef-Nordic-5-Clause
 */

#include "buzzer.h"

#include <zephyr/drivers/pwm.h>

static const struct pwm_dt_spec sBuzzer = PWM_DT_SPEC_GET(DT_ALIAS(buzzer_pwm));

static bool sBuzzerState;

int BuzzerInit()
{
	if (!device_is_ready(sBuzzer.dev)) {
		return -ENODEV;
	}
	return 0;
}

void BuzzerSetState(bool onOff)
{
	sBuzzerState = onOff;
	pwm_set_pulse_dt(&sBuzzer, sBuzzerState ? (sBuzzer.period / 2) : 0);
}

void BuzzerToggleState()
{
	BuzzerSetState(!sBuzzerState);
}
```

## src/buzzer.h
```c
/*
 * Copyright (c) 2021 Nordic Semiconductor ASA
 *
 * SPDX-License-Identifier: LicenseRef-Nordic-5-Clause
 */

int BuzzerInit();
void BuzzerSetState(bool onOff);
void BuzzerToggleState();
```

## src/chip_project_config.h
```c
/*
 * Copyright (c) 2021 Nordic Semiconductor ASA
 *
 * SPDX-License-Identifier: LicenseRef-Nordic-5-Clause
 */

/**
 *    @file
 *          Example project configuration file for CHIP.
 *
 *          This is a place to put application or project-specific overrides
 *          to the default configuration values for general CHIP features.
 *
 */

#pragma once

#ifdef CONFIG_CHIP_FACTORY_DATA
/* Store Certification Declaration */
#define CHIP_DEVICE_CONFIG_CERTIFICATION_DECLARATION                                \
	{ 0x30, 0x81, 0xe9, 0x06, 0x09, 0x2a, 0x86, 0x48, 0x86, 0xf7, 0x0d, 0x01,		\
	  0x07, 0x02, 0xa0, 0x81, 0xdb, 0x30, 0x81, 0xd8, 0x02, 0x01, 0x03, 0x31,		\
	  0x0d, 0x30, 0x0b, 0x06, 0x09, 0x60, 0x86, 0x48, 0x01, 0x65, 0x03, 0x04,		\
	  0x02, 0x01, 0x30, 0x45, 0x06, 0x09, 0x2a, 0x86, 0x48, 0x86, 0xf7, 0x0d,		\
	  0x01, 0x07, 0x01, 0xa0, 0x38, 0x04, 0x36, 0x15, 0x24, 0x00, 0x01, 0x25,		\
	  0x01, 0xf1, 0xff, 0x36, 0x02, 0x05, 0x0d, 0x80, 0x18, 0x25, 0x03, 0x02,		\
	  0x03, 0x2c, 0x04, 0x13, 0x5a, 0x49, 0x47, 0x32, 0x30, 0x31, 0x34, 0x32,		\
	  0x5a, 0x42, 0x33, 0x33, 0x30, 0x30, 0x30, 0x33, 0x2d, 0x32, 0x34, 0x24,		\
	  0x05, 0x00, 0x24, 0x06, 0x00, 0x25, 0x07, 0x94, 0x26, 0x24, 0x08, 0x00,		\
	  0x18, 0x31, 0x7d, 0x30, 0x7b, 0x02, 0x01, 0x03, 0x80, 0x14, 0x62, 0xfa,		\
	  0x82, 0x33, 0x59, 0xac, 0xfa, 0xa9, 0x96, 0x3e, 0x1c, 0xfa, 0x14, 0x0a,		\
	  0xdd, 0xf5, 0x04, 0xf3, 0x71, 0x60, 0x30, 0x0b, 0x06, 0x09, 0x60, 0x86,		\
	  0x48, 0x01, 0x65, 0x03, 0x04, 0x02, 0x01, 0x30, 0x0a, 0x06, 0x08, 0x2a,		\
	  0x86, 0x48, 0xce, 0x3d, 0x04, 0x03, 0x02, 0x04, 0x47, 0x30, 0x45, 0x02,		\
	  0x21, 0x00, 0xc8, 0xd5, 0xd8, 0xc6, 0x4e, 0x18, 0x3b, 0x6c, 0x69, 0x23,		\
	  0xb2, 0x70, 0xcf, 0xf2, 0x24, 0x2a, 0xfb, 0x08, 0x42, 0xec, 0x3b, 0x7b,		\
	  0x09, 0x14, 0x4d, 0xc1, 0x98, 0x2c, 0xf5, 0x4a, 0x17, 0x0c, 0x02, 0x20,		\
	  0x39, 0xa0, 0xf7, 0xb4, 0x86, 0x10, 0x32, 0x33, 0x01, 0xc2, 0xe4, 0x0f,		\
	  0xe0, 0x4b, 0x9c, 0x2d, 0x4d, 0x41, 0x13, 0xfd, 0xc3, 0x11, 0xe1, 0x00,		\
	  0x34, 0xa4, 0xe1, 0x7c, 0x09, 0x27, 0x45, 0x7b };
#endif
```
